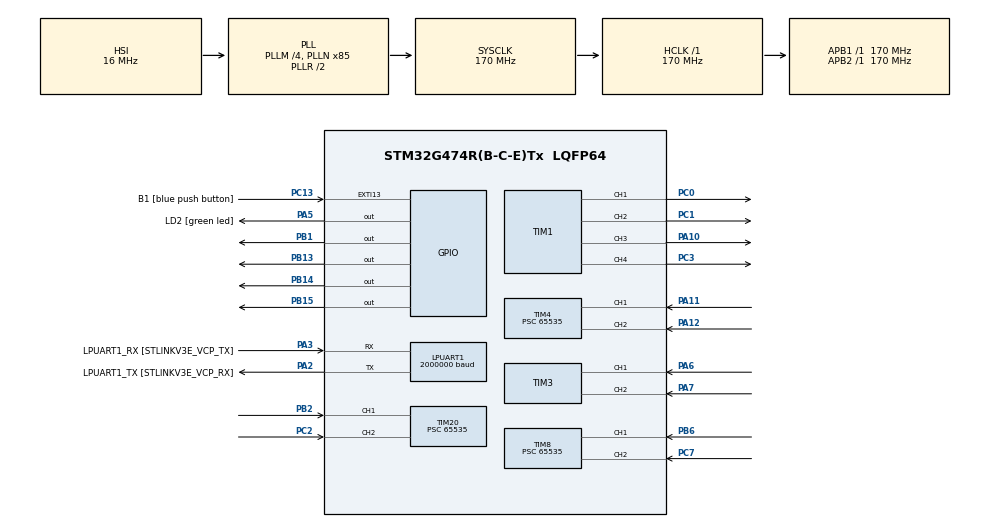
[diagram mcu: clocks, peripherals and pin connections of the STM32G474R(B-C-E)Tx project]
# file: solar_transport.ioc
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ARM.CMSIS-DSP.1.16.2.CMSISJjDSP=Source
ARM.CMSIS.6.0.0.CMSISJjCORE=true
Dma.LPUART1_RX.0.Direction=DMA_PERIPH_TO_MEMORY
Dma.LPUART1_RX.0.EventEnable=DISABLE
Dma.LPUART1_RX.0.Instance=DMA1_Channel1
Dma.LPUART1_RX.0.MemDataAlignment=DMA_MDATAALIGN_BYTE
Dma.LPUART1_RX.0.MemInc=DMA_MINC_ENABLE
Dma.LPUART1_RX.0.Mode=DMA_CIRCULAR
Dma.LPUART1_RX.0.PeriphDataAlignment=DMA_PDATAALIGN_BYTE
Dma.LPUART1_RX.0.PeriphInc=DMA_PINC_DISABLE
Dma.LPUART1_RX.0.Polarity=HAL_DMAMUX_REQ_GEN_RISING
Dma.LPUART1_RX.0.Priority=DMA_PRIORITY_VERY_HIGH
Dma.LPUART1_RX.0.RequestNumber=1
Dma.LPUART1_RX.0.SignalID=NONE
Dma.LPUART1_RX.0.SyncEnable=DISABLE
Dma.LPUART1_RX.0.SyncPolarity=HAL_DMAMUX_SYNC_NO_EVENT
Dma.LPUART1_RX.0.SyncRequestNumber=1
Dma.LPUART1_RX.0.SyncSignalID=NONE
Dma.LPUART1_TX.1.Direction=DMA_MEMORY_TO_PERIPH
Dma.LPUART1_TX.1.EventEnable=DISABLE
Dma.LPUART1_TX.1.Instance=DMA1_Channel2
Dma.LPUART1_TX.1.MemDataAlignment=DMA_MDATAALIGN_BYTE
Dma.LPUART1_TX.1.MemInc=DMA_MINC_ENABLE
Dma.LPUART1_TX.1.Mode=DMA_NORMAL
Dma.LPUART1_TX.1.PeriphDataAlignment=DMA_PDATAALIGN_BYTE
Dma.LPUART1_TX.1.PeriphInc=DMA_PINC_DISABLE
Dma.LPUART1_TX.1.Polarity=HAL_DMAMUX_REQ_GEN_RISING
Dma.LPUART1_TX.1.Priority=DMA_PRIORITY_VERY_HIGH
Dma.LPUART1_TX.1.RequestNumber=1
Dma.LPUART1_TX.1.SignalID=NONE
Dma.LPUART1_TX.1.SyncEnable=DISABLE
Dma.LPUART1_TX.1.SyncPolarity=HAL_DMAMUX_SYNC_NO_EVENT
Dma.LPUART1_TX.1.SyncRequestNumber=1
Dma.LPUART1_TX.1.SyncSignalID=NONE
Dma.Request0=LPUART1_RX
Dma.Request1=LPUART1_TX
FREERTOS.Tasks01=defaultTask,24,3000,StartDefaultTask,As weak,NULL,Static,defaultTaskBuffer,defaultTaskControlBlock
FREERTOS.configENABLE_FPU=1
IWDG.Reload=2499
LPUART1.BaudRate=2000000
Mcu.Family=STM32G4
Mcu.Name=STM32G474R(B-C-E)Tx
Mcu.Package=LQFP64
NVIC.DMA1_Channel1_IRQn=true\:5\:0\:false\:false\:true\:true\:false\:true\:true
NVIC.DMA1_Channel2_IRQn=true\:5\:0\:false\:false\:true\:true\:false\:true\:true
NVIC.EXTI15_10_IRQn=true\:5\:0\:false\:false\:true\:true\:true\:true\:true
NVIC.LPUART1_IRQn=true\:5\:0\:false\:false\:true\:true\:true\:true\:true
NVIC.PriorityGroup=NVIC_PRIORITYGROUP_4
NVIC.TIM2_IRQn=true\:5\:0\:false\:false\:true\:true\:true\:true\:true
NVIC.TIM5_IRQn=true\:15\:0\:false\:false\:true\:false\:false\:true\:true
NVIC.TimeBase=TIM5_IRQn
NVIC.TimeBaseIP=TIM5
PA10.Signal=S_TIM1_CH3
PA11.Signal=S_TIM4_CH1
PA12.Signal=S_TIM4_CH2
PA13.GPIO_Label=T_SWDIO
PA13.Signal=SYS_JTMS-SWDIO
PA14.GPIO_Label=T_SWCLK
PA14.Signal=SYS_JTCK-SWCLK
PA2.GPIO_Label=LPUART1_TX [STLINKV3E_VCP_RX]
PA2.Mode=Asynchronous
PA2.Signal=LPUART1_TX
PA3.GPIO_Label=LPUART1_RX [STLINKV3E_VCP_TX]
PA3.Mode=Asynchronous
PA3.Signal=LPUART1_RX
PA5.GPIO_Label=LD2 [green led]
PA5.Signal=GPIO_Output
PA6.Signal=S_TIM3_CH1
PA7.Signal=S_TIM3_CH2
PB1.Signal=GPIO_Output
PB13.Signal=GPIO_Output
PB14.Signal=GPIO_Output
PB15.Signal=GPIO_Output
PB2.Signal=S_TIM20_CH1
PB3.GPIO_Label=T_SWO
PB3.Signal=SYS_JTDO-SWO
PB6.Signal=S_TIM8_CH1
PC0.Signal=S_TIM1_CH1
PC1.Signal=S_TIM1_CH2
PC13.GPIO_Label=B1 [blue push button]
PC13.Signal=GPXTI13
PC14-OSC32_IN.GPIO_Label=RCC_OSC32_IN
PC14-OSC32_IN.Signal=RCC_OSC32_IN
PC15-OSC32_OUT.GPIO_Label=RCC_OSC32_OUT
PC15-OSC32_OUT.Signal=RCC_OSC32_OUT
PC2.Signal=S_TIM20_CH2
PC3.Signal=S_TIM1_CH4
PC7.Signal=S_TIM8_CH2
PF0-OSC_IN.GPIO_Label=RCC_OSC_IN
PF0-OSC_IN.Mode=HSE-External-Oscillator
PF0-OSC_IN.Signal=RCC_OSC_IN
PF1-OSC_OUT.GPIO_Label=RCC_OSC_OUT
PF1-OSC_OUT.Mode=HSE-External-Oscillator
PF1-OSC_OUT.Signal=RCC_OSC_OUT
ProjectManager.HeapSize=0x200
ProjectManager.StackSize=0x400
ProjectManager.TargetToolchain=STM32CubeIDE
RCC.ADC12Freq_Value=170000000
RCC.ADC345Freq_Value=170000000
RCC.AHBFreq_Value=170000000
RCC.APB1Freq_Value=170000000
RCC.APB1TimFreq_Value=170000000
RCC.APB2Freq_Value=170000000
RCC.APB2TimFreq_Value=170000000
RCC.CortexFreq_Value=170000000
RCC.EXTERNAL_CLOCK_VALUE=12288000
RCC.HCLKFreq_Value=170000000
RCC.HSE_VALUE=24000000
RCC.HSI48_VALUE=48000000
RCC.HSI_VALUE=16000000
RCC.LSE_VALUE=32768
RCC.PLLM=RCC_PLLM_DIV4
RCC.PLLN=85
RCC.RTCClockSelection=RCC_RTCCLKSOURCE_LSE
RCC.SYSCLKFreq_VALUE=170000000
RCC.SYSCLKSource=RCC_SYSCLKSOURCE_PLLCLK
RCC.USBFreq_Value=170000000
RCC.VCOOutputFreq_Value=340000000
SH.S_TIM1_CH1.0=TIM1_CH1,PWM Generation1 CH1
SH.S_TIM1_CH2.0=TIM1_CH2,PWM Generation2 CH2
SH.S_TIM1_CH3.0=TIM1_CH3,PWM Generation3 CH3
SH.S_TIM1_CH4.0=TIM1_CH4,PWM Generation4 CH4
SH.S_TIM20_CH1.0=TIM20_CH1,Encoder_Interface
SH.S_TIM20_CH2.0=TIM20_CH2,Encoder_Interface
SH.S_TIM3_CH1.0=TIM3_CH1,Encoder_Interface
SH.S_TIM3_CH2.0=TIM3_CH2,Encoder_Interface
SH.S_TIM4_CH1.0=TIM4_CH1,Encoder_Interface
SH.S_TIM4_CH2.0=TIM4_CH2,Encoder_Interface
SH.S_TIM8_CH1.0=TIM8_CH1,Encoder_Interface
SH.S_TIM8_CH2.0=TIM8_CH2,Encoder_Interface
TIM1.Channel-PWM\ Generation1\ CH1=TIM_CHANNEL_1
TIM1.Channel-PWM\ Generation2\ CH2=TIM_CHANNEL_2
TIM1.Channel-PWM\ Generation3\ CH3=TIM_CHANNEL_3
TIM1.Channel-PWM\ Generation4\ CH4=TIM_CHANNEL_4
TIM2.PeriodNoDither=999
TIM2.Prescaler=169
TIM2.TIM_MasterOutputTrigger=TIM_TRGO_UPDATE
TIM20.EncoderMode=TIM_ENCODERMODE_TI12
TIM20.Prescaler=65535
TIM3.EncoderMode=TIM_ENCODERMODE_TI12
TIM4.EncoderMode=TIM_ENCODERMODE_TI12
TIM4.Prescaler=65535
TIM8.EncoderMode=TIM_ENCODERMODE_TI12
TIM8.Prescaler=65535
VP_ARM.CMSIS-DSP_VS_CMSISJjDSP_1.16.2_1.16.2.Mode=CMSISJjDSP
VP_ARM.CMSIS_VS_CMSISJjCORE_6.0.0_6.0.0.Mode=CMSISJjCORE
VP_FREERTOS_VS_CMSIS_V2.Mode=CMSIS_V2
VP_IWDG_VS_IWDG.Mode=IWDG_Activate
VP_SYS_VS_DBSignals.Mode=DisableDeadBatterySignals
VP_SYS_VS_tim5.Mode=TIM5
VP_TIM2_VS_ClockSourceINT.Mode=Internal
board=NUCLEO-G474RE

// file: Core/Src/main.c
/* USER CODE BEGIN Header */
/**
 ******************************************************************************
 * @file           : main.c
 * @brief          : Main program body
 ******************************************************************************
 * @attention
 *
 * Copyright (c) 2025 STMicroelectronics.
 * All rights reserved.
 *
 * This software is licensed under terms that can be found in the LICENSE file
 * in the root directory of this software component.
 * If no LICENSE file comes with this software, it is provided AS-IS.
 *
 ******************************************************************************
 */
/* USER CODE END Header */
#include "main.h"
#include "cmsis_os.h"
#include "dma.h"
#include "iwdg.h"
#include "usart.h"
#include "tim.h"
#include "gpio.h"

/* USER CODE BEGIN Includes */
#include <rcl/rcl.h>
#include <rcl/error_handling.h>
#include <rclc/rclc.h>
#include <rclc/executor.h>
#include <uxr/client/transport.h>
#include <rmw_microxrcedds_c/config.h>
#include <rmw_microros/rmw_microros.h>

#include <std_msgs/msg/int32.h>

#include <std_msgs/msg/multi_array_dimension.h>
#include <std_msgs/msg/multi_array_layout.h>
#include <std_msgs/msg/float64_multi_array.h>
#include <geometry_msgs/msg/twist.h>

#include "transporter_config.h"
#include "signal_generator.h"
/* USER CODE END Includes */

/* USER CODE BEGIN PM */
#define RCLSOFTCHECK(fn) if (fn != RCL_RET_OK) {};
/* USER CODE END PM */

/* USER CODE BEGIN PV */
uint32_t Fs = 0;
float setpointL = 0, setpointR = 0;
;
float filteredValue1 = 0, filteredValue2 = 0, filteredValue3 = 0,
		filteredValue4 = 0;
float cmd_vel1 = 0, cmd_vel2 = 0, cmd_vel3 = 0, cmd_vel4 = 0;

SignalGenerator sine_sg;
SignalGenerator chirp_linear_sg;
SignalGenerator chirp_log_sg;
SignalGenerator square_sg;
SignalGenerator ramp_sg;

float sine_sample = 0.0f;
float chirp_Linear_sample = 0.0f;
float chirp_log_sample = 0.0f;
float square_sample = 0.0f;
float ramp_sample = 0.0f;

rcl_node_t node;
rclc_support_t support;
rcl_allocator_t allocator;
rcl_init_options_t init_options;
rclc_executor_t executor;

rcl_publisher_t publisher;
rcl_subscription_t subscriber;

std_msgs__msg__Float64MultiArray pub_msg;
geometry_msgs__msg__Twist sub_msg;

rcl_timer_t timer;
const unsigned int timer_period = RCL_MS_TO_NS(10);
const int timeout_ms = 1000;

float linear_x, linear_y, linear_z, angular_x, angular_y, angular_z;

int dummy;
/* USER CODE END PV */

void SystemClock_Config(void);
void MX_FREERTOS_Init(void);
/* USER CODE BEGIN PFP */
bool cubemx_transport_open(struct uxrCustomTransport *transport);
bool cubemx_transport_close(struct uxrCustomTransport *transport);
size_t cubemx_transport_write(struct uxrCustomTransport *transport,
		const uint8_t *buf, size_t len, uint8_t *err);
size_t cubemx_transport_read(struct uxrCustomTransport *transport, uint8_t *buf,
		size_t len, int timeout, uint8_t *err);

void* microros_allocate(size_t size, void *state);
void microros_deallocate(void *pointer, void *state);
void* microros_reallocate(void *pointer, size_t size, void *state);
void* microros_zero_allocate(size_t number_of_elements, size_t size_of_element,
		void *state);

void timer_callback(rcl_timer_t *timer, int64_t last_call_time);
void subscription_callback(const void *msgin);
/* USER CODE END PFP */

/* USER CODE BEGIN 0 */
void timer_callback(rcl_timer_t *timer, int64_t last_call_time) {
	static uint8_t cnt = 0;

	if (timer != NULL) {
		// Sync micro-ROS session
		rmw_uros_sync_session(timeout_ms);

		// Toggle LED every 50 cycles (approximately every 0.5 seconds)
		if (cnt == 0)
			HAL_GPIO_TogglePin(LD2_GPIO_Port, LD2_Pin);
		cnt = (cnt + 1) % 50;

		// Prepare and publish multi-array message with motor data
		if (pub_msg.data.data != NULL) {
			pub_msg.data.data[0] = setpointL;
			pub_msg.data.data[1] = setpointR;
			pub_msg.data.data[2] = filteredValue1;
			pub_msg.data.data[3] = filteredValue2;
			pub_msg.data.data[4] = filteredValue3;
			pub_msg.data.data[5] = filteredValue4;

			// Publish the multi-array message
			RCLSOFTCHECK(rcl_publish(&publisher, &pub_msg, NULL));
		}

		// Reinitialize watchdog timer
		HAL_IWDG_Init(&hiwdg);
	}
}

void subscription_callback(const void *msgin) {
	const geometry_msgs__msg__Twist *twist_msg =
			(const geometry_msgs__msg__Twist*) msgin;

	linear_x = twist_msg->linear.x;
	linear_y = twist_msg->linear.y;
	linear_z = twist_msg->linear.z;

	angular_x = twist_msg->angular.x;
	angular_y = twist_msg->angular.y;
	angular_z = twist_msg->angular.z;

	SKID_inverse_kinematic(&robot_kinematics, linear_x, angular_z);

	setpointL = robot_kinematics.left_cmd;
	setpointR = robot_kinematics.right_cmd;

	dummy++;
}

void StartDefaultTask(void *argument) {

	// micro-ROS configuration
	rmw_uros_set_custom_transport(true, (void*) &hlpuart1,
			cubemx_transport_open, cubemx_transport_close,
			cubemx_transport_write, cubemx_transport_read);

	rcl_allocator_t freeRTOS_allocator =
			rcutils_get_zero_initialized_allocator();
	freeRTOS_allocator.allocate = microros_allocate;
	freeRTOS_allocator.deallocate = microros_deallocate;
	freeRTOS_allocator.reallocate = microros_reallocate;
	freeRTOS_allocator.zero_allocate = microros_zero_allocate;

	if (!rcutils_set_default_allocator(&freeRTOS_allocator)) {
		printf("Error on default allocators (line %d)\n", __LINE__);
	}
	allocator = rcl_get_default_allocator();

	//create init
	init_options = rcl_get_zero_initialized_init_options();
	RCLSOFTCHECK(rcl_init_options_init(&init_options, allocator));
	RCLSOFTCHECK(rcl_init_options_set_domain_id(&init_options, 124));
	//create support
	rclc_support_init_with_options(&support, 0, NULL, &init_options,
			&allocator);

	// create node
	rclc_node_init_default(&node, "uros_motor_node", "", &support);

	pub_msg.layout.dim.capacity = 1;
	pub_msg.layout.dim.size = 1;
	pub_msg.layout.dim.data = malloc(
			sizeof(std_msgs__msg__MultiArrayDimension) * 1);

	pub_msg.layout.dim.data[0].label.data = malloc(10);
	pub_msg.layout.dim.data[0].label.capacity = 10;
	pub_msg.layout.dim.data[0].label.size = strlen("motor_data");
	strcpy(pub_msg.layout.dim.data[0].label.data, "motor_data");

	pub_msg.layout.data_offset = 0;

	pub_msg.data.capacity = 6;
	pub_msg.data.size = 6;
	pub_msg.data.data = malloc(6 * sizeof(double));

	// Create publisher
	rclc_publisher_init_default(&publisher, &node,
			ROSIDL_GET_MSG_TYPE_SUPPORT(std_msgs, msg, Float64MultiArray),
			"robot_pos");

	// Create subscriber
	rclc_subscription_init_default(&subscriber, &node,
			ROSIDL_GET_MSG_TYPE_SUPPORT(geometry_msgs, msg, Twist), "cmd_vel");

	//create timer
	rclc_timer_init_default(&timer, &support, timer_period, timer_callback);

	//create executor
	executor = rclc_executor_get_zero_initialized_executor();
	rclc_executor_init(&executor, &support.context, 2, &allocator); // total number of handles = #subscriptions + #timers
	rclc_executor_add_timer(&executor, &timer);
	rclc_executor_add_subscription(&executor, &subscriber, &sub_msg,
			&subscription_callback, ON_NEW_DATA);
	rclc_executor_spin(&executor);
}
/* USER CODE END 0 */

int main(void)
{

  /* MCU Configuration--------------------------------------------------------*/

  /* Reset of all peripherals, Initializes the Flash interface and the Systick. */
  HAL_Init();

  /* Configure the system clock */
  SystemClock_Config();

  /* Initialize all configured peripherals */
  MX_GPIO_Init();
  MX_DMA_Init();
  MX_LPUART1_UART_Init();
  MX_IWDG_Init();
  MX_TIM2_Init();
  MX_TIM3_Init();
  MX_TIM4_Init();
  MX_TIM8_Init();
  MX_TIM20_Init();
  MX_TIM1_Init();
  /* USER CODE BEGIN 2 */
	transporter_begin();
  /* USER CODE END 2 */

  /* Init scheduler */
  osKernelInitialize();  /* Call init function for freertos objects (in cmsis_os2.c) */
  MX_FREERTOS_Init();

  /* Start scheduler */
  osKernelStart();

  /* We should never get here as control is now taken by the scheduler */

  /* Infinite loop */
	while (1) {

	}
}

void SystemClock_Config(void)
{
  RCC_OscInitTypeDef RCC_OscInitStruct = {0};
  RCC_ClkInitTypeDef RCC_ClkInitStruct = {0};

  /** Configure the main internal regulator output voltage
  */
  HAL_PWREx_ControlVoltageScaling(PWR_REGULATOR_VOLTAGE_SCALE1_BOOST);

  /** Initializes the RCC Oscillators according to the specified parameters
  * in the RCC_OscInitTypeDef structure.
  */
  RCC_OscInitStruct.OscillatorType = RCC_OSCILLATORTYPE_HSI|RCC_OSCILLATORTYPE_LSI;
  RCC_OscInitStruct.HSIState = RCC_HSI_ON;
  RCC_OscInitStruct.HSICalibrationValue = RCC_HSICALIBRATION_DEFAULT;
  RCC_OscInitStruct.LSIState = RCC_LSI_ON;
  RCC_OscInitStruct.PLL.PLLState = RCC_PLL_ON;
  RCC_OscInitStruct.PLL.PLLSource = RCC_PLLSOURCE_HSI;
  RCC_OscInitStruct.PLL.PLLM = RCC_PLLM_DIV4;
  RCC_OscInitStruct.PLL.PLLN = 85;
  RCC_OscInitStruct.PLL.PLLP = RCC_PLLP_DIV2;
  RCC_OscInitStruct.PLL.PLLQ = RCC_PLLQ_DIV2;
  RCC_OscInitStruct.PLL.PLLR = RCC_PLLR_DIV2;
  if (HAL_RCC_OscConfig(&RCC_OscInitStruct) != HAL_OK)
  {
    Error_Handler();
  }

  /** Initializes the CPU, AHB and APB buses clocks
  */
  RCC_ClkInitStruct.ClockType = RCC_CLOCKTYPE_HCLK|RCC_CLOCKTYPE_SYSCLK
                              |RCC_CLOCKTYPE_PCLK1|RCC_CLOCKTYPE_PCLK2;
  RCC_ClkInitStruct.SYSCLKSource = RCC_SYSCLKSOURCE_PLLCLK;
  RCC_ClkInitStruct.AHBCLKDivider = RCC_SYSCLK_DIV1;
  RCC_ClkInitStruct.APB1CLKDivider = RCC_HCLK_DIV1;
  RCC_ClkInitStruct.APB2CLKDivider = RCC_HCLK_DIV1;

  if (HAL_RCC_ClockConfig(&RCC_ClkInitStruct, FLASH_LATENCY_4) != HAL_OK)
  {
    Error_Handler();
  }
}

void HAL_TIM_PeriodElapsedCallback(TIM_HandleTypeDef *htim)
{
  if (htim->Instance == TIM5)
  {
    HAL_IncTick();
  }
  /* USER CODE BEGIN Callback 1 */
	if (htim == &htim2) {
//		QEI_get_diff_count(&encoder1);
//		QEI_get_diff_count(&encoder2);
//		QEI_get_diff_count(&encoder3);
//		QEI_get_diff_count(&encoder4);
//
//		QEI_compute_data(&encoder1);
//		QEI_compute_data(&encoder2);
//		QEI_compute_data(&encoder3);
//		QEI_compute_data(&encoder4);
//
//		filteredValue1 = FIR_process(&lowPassFilter1, encoder1.radps);
//		filteredValue2 = FIR_process(&lowPassFilter2, encoder2.radps);
//		filteredValue3 = FIR_process(&lowPassFilter3, encoder3.radps);
//		filteredValue4 = FIR_process(&lowPassFilter4, encoder4.radps);
//
//		cmd_vel1 = PWM_Satuation(
//				PID_CONTROLLER_Compute(&pid1, setpointL - filteredValue1),
//				65535, -65535);
//		cmd_vel2 = PWM_Satuation(
//				PID_CONTROLLER_Compute(&pid2, setpointL - filteredValue2),
//				65535, -65535);
//		cmd_vel3 = PWM_Satuation(
//				PID_CONTROLLER_Compute(&pid3, setpointR - filteredValue3),
//				65535, -65535);
//		cmd_vel4 = PWM_Satuation(
//				PID_CONTROLLER_Compute(&pid4, setpointR - filteredValue4),
//				65535, -65535);

		cmd_vel1 = setpointL * 65535.0 / 0.24;
		cmd_vel2 = setpointL * 65535.0 / 0.24;
		cmd_vel3 = setpointR * 65535.0 / 0.24;
		cmd_vel4 = setpointR * 65535.0 / 0.24;

		if (setpointL == 0.0 && setpointR == 0.0) {
			cmd_vel1 = 0.0;
			cmd_vel2 = 0.0;
			cmd_vel3 = 0.0;
			cmd_vel4 = 0.0;
		}

		MDXX_set_range(&motor1, 2000, cmd_vel1);
		MDXX_set_range(&motor2, 2000, cmd_vel2);
		MDXX_set_range(&motor3, 2000, cmd_vel3);
		MDXX_set_range(&motor4, 2000, cmd_vel4);

//		uint32_t current_time = HAL_GetTick();
//		SKID_calculate_pose(&robot_kinematics, cmd_vel1, cmd_vel2, cmd_vel3,
//				cmd_vel4, current_time);
	}
	/* USER CODE BEGIN Callback 1 */

  /* USER CODE END Callback 1 */
}

void Error_Handler(void)
{
	__disable_irq();
	while (1) {
	}
}
